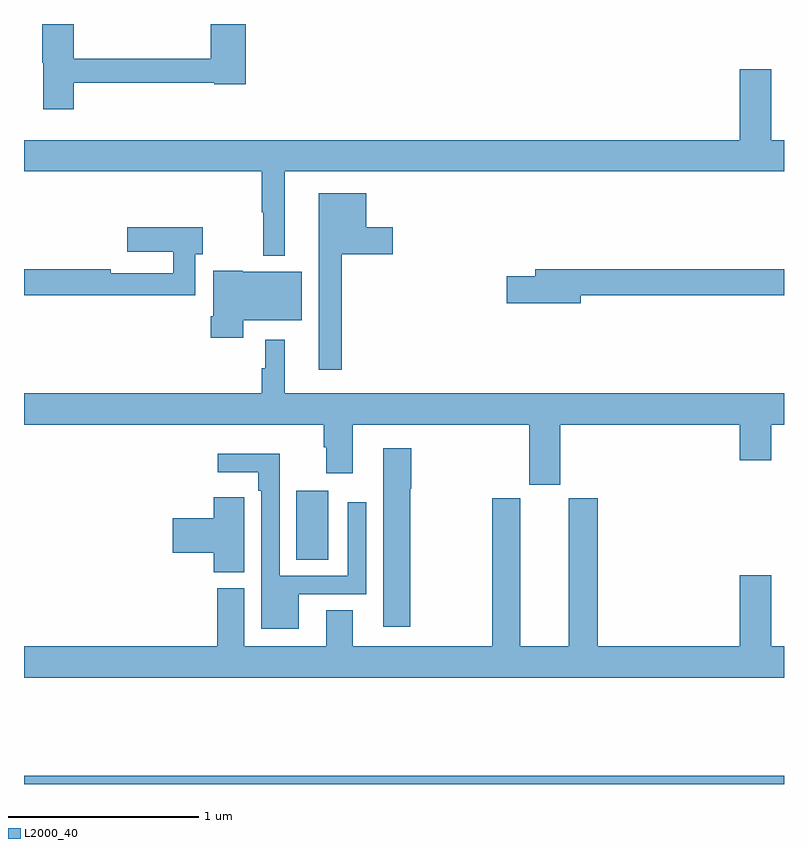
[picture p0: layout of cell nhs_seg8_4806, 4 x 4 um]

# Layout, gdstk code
import gdstk
lib = gdstk.Library(unit=1e-6, precision=1e-09)
def R(c, l, rs):  # rectangles x0, y0, x1, y1
    for r in rs: c.add(gdstk.rectangle(r[:2], r[2:], *l))
def P(c, l, *ps):  # polygons
    for p in ps: c.add(gdstk.Polygon(p, *l))
L2000_40 = (2000, 40)

nhs_seg8_4806 = lib.new_cell('nhs_seg8_4806')
R(nhs_seg8_4806, L2000_40, [(401,1155.9,405,1155.944), (402.434,1157.08,402.601,1157.443)])
P(nhs_seg8_4806, L2000_40, [(401.261,1159.59),(402,1159.59),(402,1159.582),(402.167,1159.582),(402.167,1159.9),(401.984,1159.9),(401.984,1159.718),(401.261,1159.718),(401.261,1159.9),(401.095,1159.9),(401.095,1159.695),(401.102,1159.695),(401.102,1159.452),(401.261,1159.452)],
  [(402.373,1159.124),(405,1159.124),(405,1159.288),(404.932,1159.288),(404.932,1159.663),(404.768,1159.663),(404.768,1159.288),(401,1159.288),(401,1159.124),(402.252,1159.124),(402.252,1158.908),(402.259,1158.908),(402.259,1158.68),(402.373,1158.68)],
  [(402.673,1158.689),(402.94,1158.689),(402.94,1158.831),(402.802,1158.831),(402.802,1159.009),(402.551,1159.009),(402.551,1158.081),(402.673,1158.081)],
  [(401.901,1158.689),(401.94,1158.689),(401.94,1158.831),(401.544,1158.831),(401.544,1158.701),(401.785,1158.701),(401.785,1158.588),(401.456,1158.588),(401.456,1158.608),(401,1158.608),(401,1158.472),(401.901,1158.472)],
  [(403.93,1158.472),(405,1158.472),(405,1158.608),(403.691,1158.608),(403.691,1158.572),(403.542,1158.572),(403.542,1158.43),(403.93,1158.43)],
  [(402.154,1158.341),(402.463,1158.341),(402.463,1158.595),(402.15,1158.595),(402.15,1158.601),(401.996,1158.601),(401.996,1158.361),(401.984,1158.361),(401.984,1158.249),(402.154,1158.249)],
  [(402.578,1157.672),(402.59,1157.672),(402.59,1157.535),(402.73,1157.535),(402.73,1157.792),(403.658,1157.792),(403.658,1157.475),(403.822,1157.475),(403.822,1157.792),(404.768,1157.792),(404.768,1157.604),(404.932,1157.604),(404.932,1157.792),(405,1157.792),(405,1157.956),(402.373,1157.956),(402.373,1158.238),(402.269,1158.238),(402.269,1158.089),(402.252,1158.089),(402.252,1157.956),(401,1157.956),(401,1157.792),(402.578,1157.792)],
  [(403.032,1157.455),(403.037,1157.455),(403.037,1157.668),(402.89,1157.668),(402.89,1156.728),(403.032,1156.728)],
  [(402.445,1156.899),(402.801,1156.899),(402.801,1157.383),(402.705,1157.383),(402.705,1156.995),(402.345,1156.995),(402.345,1157.638),(402.021,1157.638),(402.021,1157.54),(402.233,1157.54),(402.233,1157.444),(402.249,1157.444),(402.249,1156.718),(402.445,1156.718)],
  [(402.16,1157.297),(402.159,1157.297),(402.159,1157.41),(401.999,1157.41),(401.999,1157.3),(401.784,1157.3),(401.784,1157.117),(401.999,1157.117),(401.999,1157.014),(402.16,1157.014)],
  [(403.465,1157.403),(403.465,1156.624),(402.73,1156.624),(402.73,1156.814),(402.59,1156.814),(402.59,1156.624),(402.16,1156.624),(402.16,1156.929),(402.017,1156.929),(402.017,1156.624),(401,1156.624),(401,1156.46),(405,1156.46),(405,1156.624),(404.932,1156.624),(404.932,1156.999),(404.768,1156.999),(404.768,1156.624),(404.021,1156.624),(404.021,1157.403),(403.868,1157.403),(403.868,1156.624),(403.612,1156.624),(403.612,1157.403)])

lib.write_gds('nhs_seg8_4806.gds')
